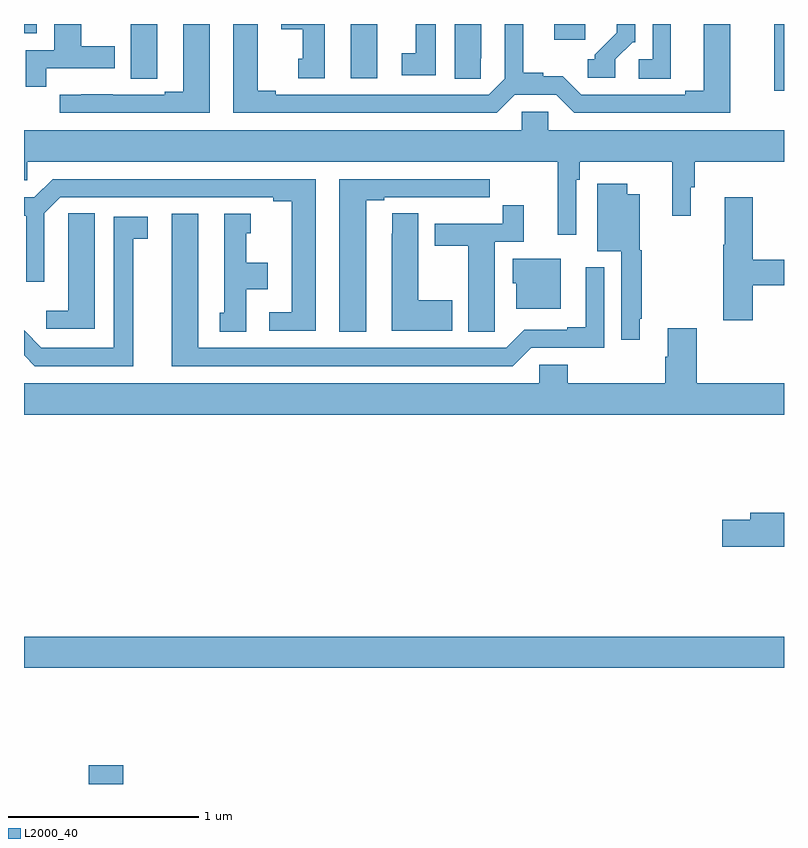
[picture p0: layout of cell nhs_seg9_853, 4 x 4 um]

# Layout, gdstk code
import gdstk
lib = gdstk.Library(unit=1e-6, precision=1e-09)
def R(c, l, rs):  # rectangles x0, y0, x1, y1
    for r in rs: c.add(gdstk.rectangle(r[:2], r[2:], *l))
def P(c, l, *ps):  # polygons
    for p in ps: c.add(gdstk.Polygon(p, *l))
L2000_40 = (2000, 40)

nhs_seg9_853 = lib.new_cell('nhs_seg9_853')
R(nhs_seg9_853, L2000_40, [(157.34,1170.5,157.523,1170.598), (157,1171.112,161,1171.276), (160.948,1174.149,161,1174.5), (158.72,1174.215,158.86,1174.5), (159.791,1174.416,159.955,1174.5), (157,1174.451,157.066,1174.5)])
P(nhs_seg9_853, L2000_40, [(159.166,1174.5),(159.062,1174.5),(159.062,1174.346),(158.988,1174.346),(158.988,1174.23),(159.166,1174.23)],
  [(157.978,1174.5),(157.838,1174.5),(157.838,1174.143),(157.742,1174.143),(157.742,1174.128),(157.466,1174.128),(157.466,1174.129),(157.3,1174.129),(157.3,1174.128),(157.188,1174.128),(157.188,1174.032),(157.978,1174.032)],
  [(158.584,1174.5),(158.354,1174.5),(158.354,1174.472),(158.468,1174.472),(158.468,1174.317),(158.444,1174.317),(158.444,1174.215),(158.584,1174.215)],
  [(157.118,1174.266),(157.477,1174.266),(157.477,1174.383),(157.3,1174.383),(157.3,1174.5),(157.16,1174.5),(157.16,1174.362),(157.01,1174.362),(157.01,1174.17),(157.118,1174.17)],
  [(159.405,1174.321),(159.406,1174.321),(159.406,1174.5),(159.266,1174.5),(159.266,1174.213),(159.405,1174.213)],
  [(157.701,1174.321),(157.702,1174.321),(157.702,1174.5),(157.562,1174.5),(157.562,1174.213),(157.701,1174.213)],
  [(160.405,1174.5),(160.308,1174.5),(160.308,1174.314),(160.236,1174.314),(160.236,1174.213),(160.405,1174.213)],
  [(159.583,1174.128),(159.801,1174.128),(159.897,1174.032),(160.717,1174.032),(160.717,1174.5),(160.577,1174.5),(160.577,1174.148),(160.481,1174.148),(160.481,1174.128),(159.933,1174.128),(159.836,1174.226),(159.732,1174.226),(159.732,1174.244),(159.628,1174.244),(159.628,1174.5),(159.531,1174.5),(159.531,1174.212),(159.447,1174.128),(158.326,1174.128),(158.326,1174.148),(158.23,1174.148),(158.23,1174.5),(158.102,1174.5),(158.102,1174.032),(159.487,1174.032)],
  [(160.113,1174.314),(160.203,1174.404),(160.218,1174.404),(160.218,1174.5),(160.121,1174.5),(160.121,1174.454),(160.005,1174.338),(160.005,1174.314),(159.966,1174.314),(159.966,1174.218),(160.113,1174.218)],
  [(159.906,1173.68),(159.926,1173.68),(159.926,1173.776),(160.411,1173.776),(160.411,1173.492),(160.51,1173.492),(160.51,1173.642),(160.529,1173.642),(160.529,1173.776),(161,1173.776),(161,1173.94),(159.759,1173.94),(159.759,1174.038),(159.621,1174.038),(159.621,1173.94),(157,1173.94),(157,1173.678),(157.017,1173.678),(157.017,1173.776),(159.809,1173.776),(159.809,1173.39),(159.906,1173.39)],
  [(158.8,1173.573),(158.896,1173.573),(158.896,1173.588),(159.172,1173.588),(159.172,1173.587),(159.338,1173.587),(159.338,1173.588),(159.451,1173.588),(159.451,1173.684),(158.66,1173.684),(158.66,1172.881),(158.8,1172.881)],
  [(158.536,1173.684),(157.151,1173.684),(157.055,1173.588),(157,1173.588),(157,1173.492),(157.011,1173.492),(157.011,1173.144),(157.107,1173.144),(157.107,1173.504),(157.191,1173.588),(158.312,1173.588),(158.312,1173.568),(158.408,1173.568),(158.408,1172.982),(158.292,1172.982),(158.292,1172.886),(158.536,1172.886)],
  [(160.24,1172.95),(160.252,1172.95),(160.252,1173.309),(160.24,1173.309),(160.24,1173.604),(160.174,1173.604),(160.174,1173.658),(160.016,1173.658),(160.016,1173.305),(160.143,1173.305),(160.143,1172.838),(160.24,1172.838)],
  [(160.835,1173.124),(161,1173.124),(161,1173.26),(160.835,1173.26),(160.835,1173.589),(160.688,1173.589),(160.688,1173.337),(160.681,1173.337),(160.681,1172.94),(160.835,1172.94)],
  [(159.477,1172.992),(159.478,1172.992),(159.478,1173.354),(159.629,1173.354),(159.629,1173.547),(159.52,1173.547),(159.52,1173.45),(159.161,1173.45),(159.161,1173.334),(159.338,1173.334),(159.338,1172.881),(159.477,1172.881)],
  [(159.253,1173.045),(159.076,1173.045),(159.076,1173.503),(158.937,1173.503),(158.937,1173.395),(158.936,1173.395),(158.936,1172.885),(159.253,1172.885)],
  [(157.372,1173.503),(157.233,1173.503),(157.233,1173.395),(157.232,1173.395),(157.232,1172.992),(157.116,1172.992),(157.116,1172.895),(157.372,1172.895)],
  [(158.17,1173.104),(158.284,1173.104),(158.284,1173.244),(158.17,1173.244),(158.17,1173.399),(158.194,1173.399),(158.194,1173.502),(158.054,1173.502),(158.054,1172.979),(158.03,1172.979),(158.03,1172.881),(158.17,1172.881)],
  [(159.669,1172.796),(160.053,1172.796),(160.053,1173.22),(159.956,1173.22),(159.956,1172.905),(159.86,1172.905),(159.86,1172.892),(159.633,1172.892),(159.537,1172.796),(157.918,1172.796),(157.918,1173.502),(157.778,1173.502),(157.778,1172.7),(159.573,1172.7)],
  [(157.576,1173.37),(157.651,1173.37),(157.651,1173.486),(157.472,1173.486),(157.472,1172.796),(157.092,1172.796),(157,1172.888),(157,1172.756),(157.056,1172.7),(157.576,1172.7)],
  [(159.826,1173.265),(159.572,1173.265),(159.572,1173.135),(159.59,1173.135),(159.59,1173.002),(159.826,1173.002)],
  [(161,1172.608),(160.541,1172.608),(160.541,1172.899),(160.388,1172.899),(160.388,1172.75),(160.376,1172.75),(160.376,1172.608),(159.863,1172.608),(159.863,1172.706),(159.711,1172.706),(159.711,1172.608),(157,1172.608),(157,1172.444),(161,1172.444)],
  [(161,1171.928),(160.823,1171.928),(160.823,1171.892),(160.674,1171.892),(160.674,1171.75),(161,1171.75)])

lib.write_gds('nhs_seg9_853.gds')
